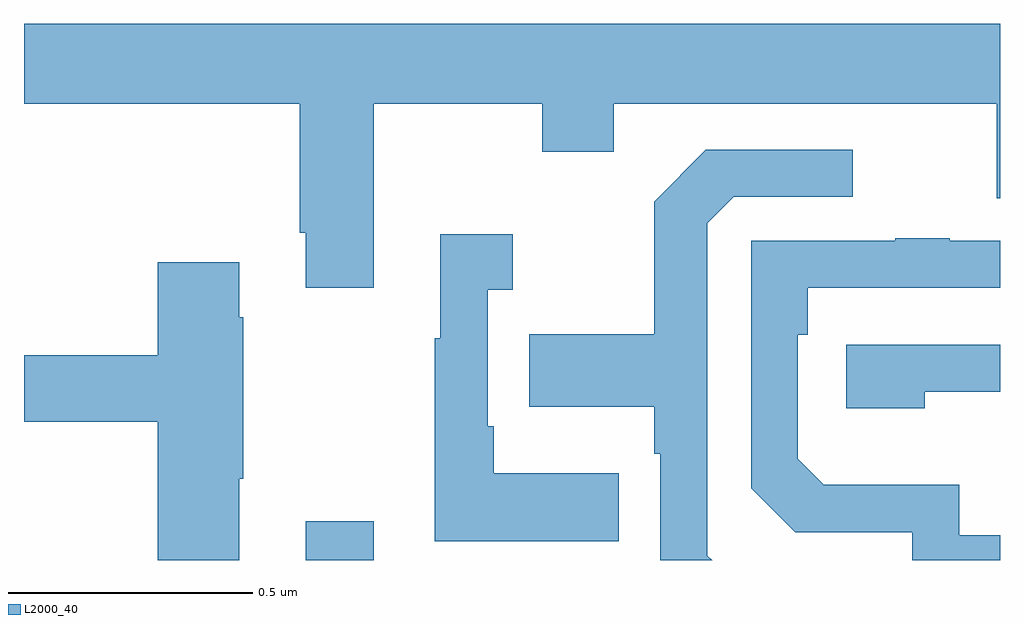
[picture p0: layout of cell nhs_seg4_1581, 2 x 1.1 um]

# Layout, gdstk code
import gdstk
lib = gdstk.Library(unit=1e-6, precision=1e-09)
def R(c, l, rs):  # rectangles x0, y0, x1, y1
    for r in rs: c.add(gdstk.rectangle(r[:2], r[2:], *l))
def P(c, l, *ps):  # polygons
    for p in ps: c.add(gdstk.Polygon(p, *l))
L2000_40 = (2000, 40)

nhs_seg4_1581 = lib.new_cell('nhs_seg4_1581')
R(nhs_seg4_1581, L2000_40, [(130.577,779.9,130.717,779.98)])
P(nhs_seg4_1581, L2000_40, [(130.717,780.836),(131.062,780.836),(131.062,780.737),(131.209,780.737),(131.209,780.836),(131.993,780.836),(131.993,780.642),(132,780.642),(132,781),(130,781),(130,780.836),(130.565,780.836),(130.565,780.571),(130.577,780.571),(130.577,780.459),(130.717,780.459)],
  [(131.4,779.91),(131.4,780.591),(131.454,780.645),(131.698,780.645),(131.698,780.741),(131.397,780.741),(131.292,780.635),(131.292,780.363),(131.035,780.363),(131.035,780.215),(131.292,780.215),(131.292,780.119),(131.304,780.119),(131.304,779.9),(131.41,779.9)],
  [(131.219,780.079),(130.963,780.079),(130.963,780.175),(130.95,780.175),(130.95,780.455),(131.002,780.455),(131.002,780.568),(130.853,780.568),(130.853,780.355),(130.842,780.355),(130.842,779.939),(131.219,779.939)],
  [(132,779.952),(131.916,779.952),(131.916,780.055),(131.639,780.055),(131.586,780.108),(131.586,780.362),(131.606,780.362),(131.606,780.459),(132,780.459),(132,780.555),(131.897,780.555),(131.897,780.56),(131.785,780.56),(131.785,780.555),(131.49,780.555),(131.49,780.048),(131.58,779.958),(131.82,779.958),(131.82,779.9),(132,779.9)],
  [(130.441,780.067),(130.449,780.067),(130.449,780.398),(130.441,780.398),(130.441,780.511),(130.274,780.511),(130.274,780.32),(130,780.32),(130,780.184),(130.274,780.184),(130.274,779.9),(130.441,779.9)],
  [(131.846,780.246),(132,780.246),(132,780.342),(131.685,780.342),(131.685,780.212),(131.846,780.212)])

lib.write_gds('nhs_seg4_1581.gds')
